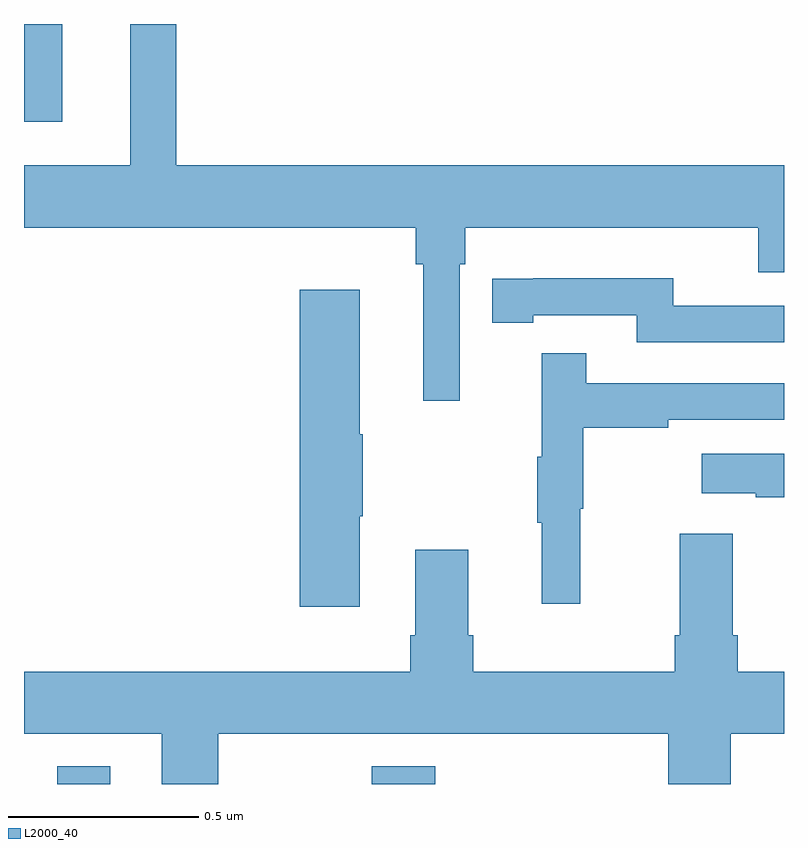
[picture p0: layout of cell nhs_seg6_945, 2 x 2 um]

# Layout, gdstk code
import gdstk
lib = gdstk.Library(unit=1e-6, precision=1e-09)
def R(c, l, rs):  # rectangles x0, y0, x1, y1
    for r in rs: c.add(gdstk.rectangle(r[:2], r[2:], *l))
def P(c, l, *ps):  # polygons
    for p in ps: c.add(gdstk.Polygon(p, *l))
L2000_40 = (2000, 40)

nhs_seg6_945 = lib.new_cell('nhs_seg6_945')
R(nhs_seg6_945, L2000_40, [(122.087,984.5,122.227,984.547), (122.915,984.5,123.082,984.547), (122,986.243,122.101,986.5)])
P(nhs_seg6_945, L2000_40, [(123.147,985.868),(123.161,985.868),(123.161,985.964),(123.932,985.964),(123.932,985.847),(124,985.847),(124,986.128),(122.401,986.128),(122.401,986.5),(122.279,986.5),(122.279,986.128),(122,986.128),(122,985.964),(123.031,985.964),(123.031,985.868),(123.05,985.868),(123.05,985.509),(123.147,985.509)],
  [(124,985.758),(123.708,985.758),(123.708,985.831),(123.34,985.831),(123.34,985.83),(123.232,985.83),(123.232,985.714),(123.34,985.714),(123.34,985.734),(123.612,985.734),(123.612,985.662),(124,985.662)],
  [(122.884,985.204),(122.892,985.204),(122.892,985.421),(122.884,985.421),(122.884,985.801),(122.726,985.801),(122.726,984.966),(122.884,984.966)],
  [(123.464,985.224),(123.472,985.224),(123.472,985.438),(123.695,985.438),(123.695,985.458),(124,985.458),(124,985.554),(123.479,985.554),(123.479,985.633),(123.362,985.633),(123.362,985.361),(123.351,985.361),(123.351,985.187),(123.362,985.187),(123.362,984.975),(123.464,984.975)],
  [(124,985.369),(123.783,985.369),(123.783,985.265),(123.926,985.265),(123.926,985.255),(124,985.255)],
  [(122.511,984.632),(123.695,984.632),(123.695,984.5),(123.86,984.5),(123.86,984.632),(124,984.632),(124,984.796),(123.878,984.796),(123.878,984.892),(123.865,984.892),(123.865,985.159),(123.725,985.159),(123.725,984.892),(123.713,984.892),(123.713,984.796),(123.182,984.796),(123.182,984.892),(123.169,984.892),(123.169,985.117),(123.029,985.117),(123.029,984.892),(123.017,984.892),(123.017,984.796),(122,984.796),(122,984.632),(122.363,984.632),(122.363,984.5),(122.511,984.5)])

lib.write_gds('nhs_seg6_945.gds')
